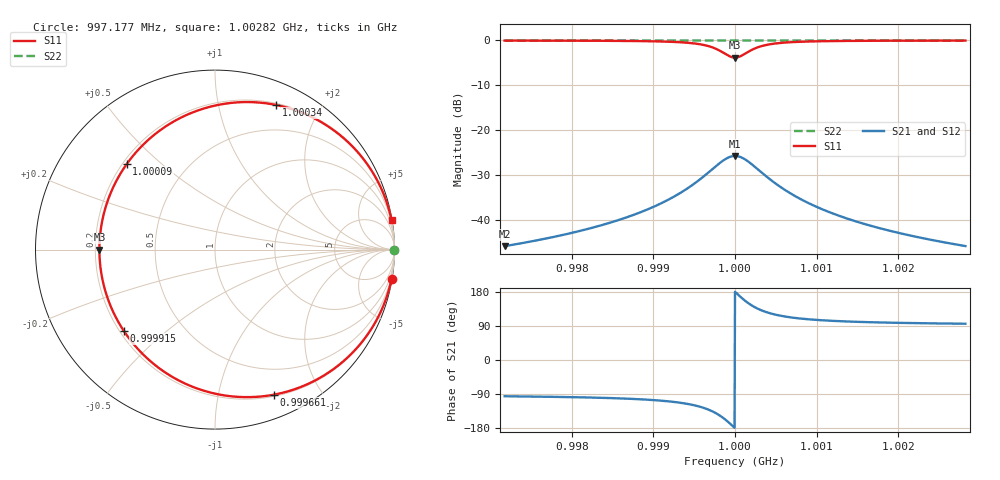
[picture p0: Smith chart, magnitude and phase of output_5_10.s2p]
! File generated for n1 = 5, n2 = 10
! b1 = 4.641589
! b2 = 0.004642
! Q0 = 10000.000000
! f0 = 1000000000.000000
! n = 1001
! rel_span = 10.000000
# Hz S RI R 50
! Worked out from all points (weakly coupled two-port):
!   1001 points, 997.177 MHz to 1.00282 GHz, reference 50 ohm
!   highest |S21| = -25.68 dB at 1 GHz (marker M1); lowest = -45.7 dB at 997.177 MHz (marker M2)
!   lowest |S11| = -3.8 dB at 1 GHz (marker M3), VSWR 4.62, Z = 10.8 + j0 ohm
!   |S11| at or under -10 dB: nowhere
!   |S22| runs from 0.0 to 0.0 dB; largest |S21 - S12| = 0
!   S11 on the Smith chart (normalised r, x): 997.177 MHz: 0, -12; 999.661 MHz: 0.22, -1.46; 999.915 MHz: 0.22, -0.36; 1.00009 GHz: 0.22, +0.39; 1.00034 GHz: 0.22, +1.48; 1.00282 GHz: 0, +12
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9.971769e8  0.9838 -0.1626  -0.000513 -0.00514  -0.000513 -0.00514  1 -0.000163
9.981198e8  0.9638 -0.2412  -0.00114 -0.00763  -0.00114 -0.00763  1 -0.000241
9.986562e8  0.9306 -0.3306  -0.00219 -0.0105  -0.00219 -0.0105  0.9999 -0.000331
9.990627e8  0.8634 -0.4539  -0.00432 -0.0144  -0.00432 -0.0144  0.9999 -0.000454
9.994241e8  0.6816 -0.6497  -0.0101 -0.0205  -0.0101 -0.0205  0.9997 -0.00065
9.995539e8  0.5299 -0.7429  -0.0149 -0.0235  -0.0149 -0.0235  0.9995 -0.000743
9.996612e8  0.3263 -0.8086  -0.0213 -0.0256  -0.0213 -0.0256  0.9993 -0.000809
9.998024e8  -0.1034 -0.7724  -0.0349 -0.0244  -0.0349 -0.0244  0.9989 -0.000772
9.998588e8  -0.3153 -0.6577  -0.0416 -0.0208  -0.0416 -0.0208  0.9987 -0.000658
9.999153e8  -0.5084 -0.4525  -0.0477 -0.0143  -0.0477 -0.0143  0.9985 -0.000453
1e9  -0.6441 0  -0.052 0  -0.052 0  0.9984 0
1.000045e9  -0.6031 0.2565  -0.0507 0.00811  -0.0507 0.00811  0.9984 0.000256
1.00009e9  -0.4914 0.4772  -0.0472 0.0151  -0.0472 0.0151  0.9985 0.000477
1.000141e9  -0.3153 0.6576  -0.0416 0.0208  -0.0416 0.0208  0.9987 0.000658
1.000198e9  -0.1035 0.7724  -0.0349 0.0244  -0.0349 0.0244  0.9989 0.000772
1.00026e9  0.1094 0.8192  -0.0282 0.0259  -0.0282 0.0259  0.9991 0.000819
1.000344e9  0.3391 0.8061  -0.0209 0.0255  -0.0209 0.0255  0.9993 0.000806
1.000452e9  0.538 0.739  -0.0146 0.0234  -0.0146 0.0234  0.9995 0.000739
1.000582e9  0.6863 0.646  -0.00992 0.0204  -0.00992 0.0204  0.9997 0.000646
1.000943e9  0.8646 0.4519  -0.00428 0.0143  -0.00428 0.0143  0.9999 0.000452
1.001886e9  0.9639 0.241  -0.00114 0.00762  -0.00114 0.00762  1 0.000241
1.002823e9  0.9837 0.163  -0.000516 0.00515  -0.000516 0.00515  1 0.000163
